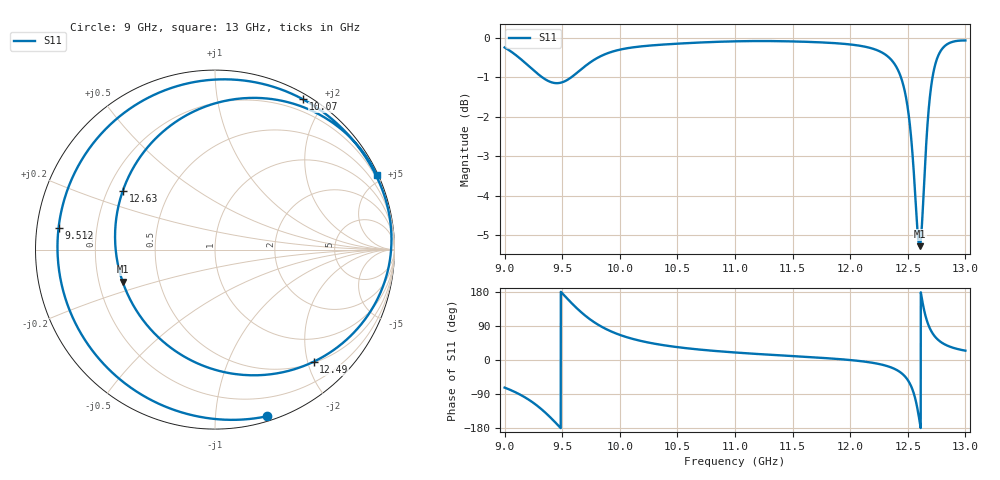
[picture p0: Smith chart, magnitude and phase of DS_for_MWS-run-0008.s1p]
! TOUCHSTONE file generated by CST DESIGN STUDIO
! Date and time: Tue Feb  4 15:51:14 2025
! Project name: C:\Work\MatlabApps\UnitCellOptimizationMatlab\CST\unitcell.cst
! Tree item: Tasks\Sweep1\SPara1\S-Parameters
! Header version: 2024
! Port assignment regex: !\s*Touchstone port\s*([0-9]+)\s*=\s*(CST MWS port|CST DES external port|CST DES block port)\s*(.+)\s* \(\"(.*)\"\)(\s*mode\s*([0-9]+))?.*
! Touchstone port assignment:
! Touchstone port 1 = CST DES external port 1 ("")
# GHz S MA R 50
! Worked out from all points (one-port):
!   4001 points, 9 GHz to 13 GHz, reference 50 ohm
!   lowest |S11| = -5.3 dB at 12.6 GHz (marker M1), VSWR 3.40, Z = 15.1 - j7.7 ohm
!   |S11| at or under -10 dB: nowhere
!   S11 on the Smith chart (normalised r, x): 9 GHz: 0.04, -1.35; 9.512 GHz: 0.06, +0.07; 10.07 GHz: 0.06, +1.74; 12.49 GHz: 0.52, -2.11; 12.63 GHz: 0.26, +0.27; 13 GHz: 0.08, +4.58
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9  0.9724 -72.8
9.155  0.9361 -94.7
9.274  0.904 -118.6
9.405  0.8787 -153.8
9.5  0.8786 176.1
9.512  0.8799 172.2
9.625  0.9024 137.1
9.725  0.927 111.1
9.839  0.9488 88.3
10  0.9662 66.3
10.066  0.9704 59.7
10.5  0.9832 33.9
11  0.99 19.8
11.5  0.9897 10.3
12  0.981 -0.1
12.347  0.9413 -18.6
12.431  0.8992 -31.5
12.49  0.832 -48.7
12.5  0.8144 -52.9
12.558  0.6555 -94.2
12.602  0.545 -160.8
12.631  0.6096 147.3
12.657  0.722 112.8
12.684  0.82 88.7
12.725  0.9082 66.0
12.77  0.9536 51.4
12.859  0.9848 35.9
13  0.9925 24.6
